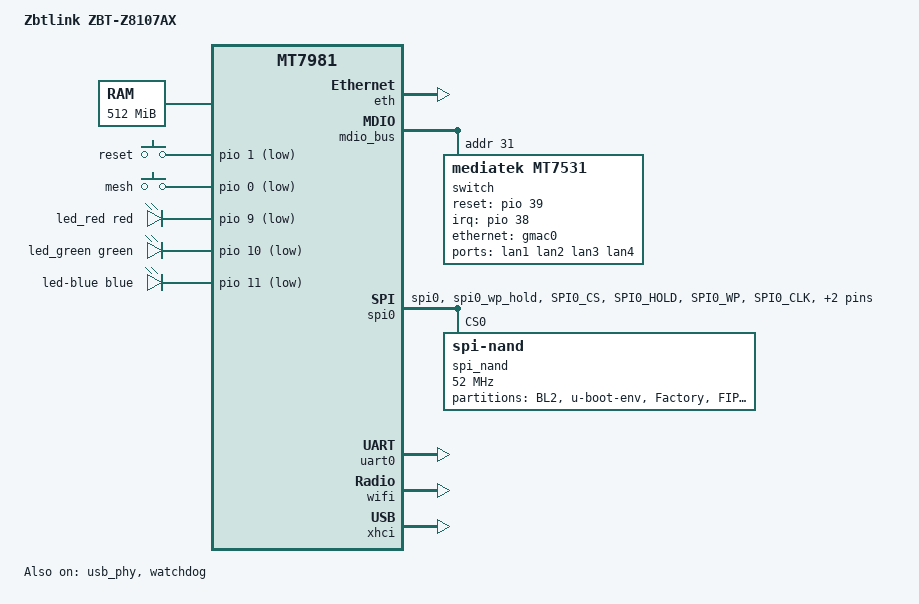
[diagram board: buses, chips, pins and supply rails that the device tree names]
// SPDX-License-Identifier: GPL-2.0-or-later OR MIT

/dts-v1/;

#include <dt-bindings/gpio/gpio.h>
#include <dt-bindings/input/input.h>
#include <dt-bindings/interrupt-controller/irq.h>
#include <dt-bindings/leds/common.h>
#include <dt-bindings/pinctrl/mt65xx.h>

#include "mt7981b.dtsi"

/ {
	model = "Zbtlink ZBT-Z8107AX";
	compatible = "zbtlink,zbt-z8107ax", "mediatek,mt7981";

	aliases {
		serial0 = &uart0;
		led-boot = &led_red;
		led-failsafe = &led_red;
		led-running = &led_green;
		led-upgrade = &led_red;
		label-mac-device = &gmac0;
	};

	chosen {
		stdout-path = "serial0:115200n8";
		bootargs = "earlycon=uart8250,mmio32,0x11002000 console=ttyS0,115200n8";
	};

	memory@40000000 {
		device_type = "memory";
		reg = <0 0x40000000 0 0x20000000>;
	};

	keys {
		compatible = "gpio-keys";

		button-reset {
			label = "reset";
			linux,code = <KEY_RESTART>;
			gpios = <&pio 1 GPIO_ACTIVE_LOW>;
		};

		button-mesh {
			label = "mesh";
			linux,code = <BTN_0>;
			gpios = <&pio 0 GPIO_ACTIVE_LOW>;
		};
	};

	/* Three channels of a single RGB status indicator. */
	leds {
		compatible = "gpio-leds";

		led_red: led-red {
			color = <LED_COLOR_ID_RED>;
			function = LED_FUNCTION_STATUS;
			gpios = <&pio 9 GPIO_ACTIVE_LOW>;
		};

		led_green: led-green {
			color = <LED_COLOR_ID_GREEN>;
			function = LED_FUNCTION_STATUS;
			gpios = <&pio 10 GPIO_ACTIVE_LOW>;
		};

		led-blue {
			color = <LED_COLOR_ID_BLUE>;
			function = LED_FUNCTION_WAN;
			gpios = <&pio 11 GPIO_ACTIVE_LOW>;
		};
	};
};

&eth {
	status = "okay";

	gmac0: mac@0 {
		compatible = "mediatek,eth-mac";
		reg = <0>;
		nvmem-cells = <&macaddr_factory_2a>;
		nvmem-cell-names = "mac-address";
		phy-mode = "2500base-x";

		fixed-link {
			speed = <2500>;
			full-duplex;
			pause;
		};
	};

	gmac1: mac@1 {
		openwrt,netdev-name = "wan";
		compatible = "mediatek,eth-mac";
		reg = <1>;
		nvmem-cells = <&macaddr_factory_24>;
		nvmem-cell-names = "mac-address";
		phy-mode = "gmii";
		phy-handle = <&int_gbe_phy>;
	};
};

&mdio_bus {
	switch@1f {
		compatible = "mediatek,mt7531";
		reg = <31>;
		reset-gpios = <&pio 39 GPIO_ACTIVE_HIGH>;
		interrupt-controller;
		#interrupt-cells = <1>;
		interrupt-parent = <&pio>;
		interrupts = <38 IRQ_TYPE_LEVEL_HIGH>;

		ports {
			#address-cells = <1>;
			#size-cells = <0>;

			port@0 {
				reg = <0>;
				label = "lan1";
			};

			port@1 {
				reg = <1>;
				label = "lan2";
			};

			port@2 {
				reg = <2>;
				label = "lan3";
			};

			port@3 {
				reg = <3>;
				label = "lan4";
			};

			port@6 {
				reg = <6>;
				ethernet = <&gmac0>;
				phy-mode = "2500base-x";

				fixed-link {
					speed = <2500>;
					full-duplex;
					pause;
				};
			};
		};
	};
};

&pio {
	spi0_flash_pins: spi0-pins {
		mux {
			function = "spi";
			groups = "spi0", "spi0_wp_hold";
		};

		conf-pu {
			pins = "SPI0_CS", "SPI0_HOLD", "SPI0_WP";
			drive-strength = <MTK_DRIVE_8mA>;
			bias-pull-up = <MTK_PUPD_SET_R1R0_11>;
		};

		conf-pd {
			pins = "SPI0_CLK", "SPI0_MOSI", "SPI0_MISO";
			drive-strength = <MTK_DRIVE_8mA>;
			bias-pull-down = <MTK_PUPD_SET_R1R0_11>;
		};
	};
};

&spi0 {
	pinctrl-names = "default";
	pinctrl-0 = <&spi0_flash_pins>;
	status = "okay";

	spi_nand@0 {
		compatible = "spi-nand";
		reg = <0>;

		spi-max-frequency = <52000000>;
		spi-tx-bus-width = <4>;
		spi-rx-bus-width = <4>;

		mediatek,nmbm;
		mediatek,bmt-max-ratio = <1>;
		mediatek,bmt-max-reserved-blocks = <64>;

		partitions {
			compatible = "fixed-partitions";
			#address-cells = <1>;
			#size-cells = <1>;

			partition@0 {
				label = "BL2";
				reg = <0x0 0x100000>;
				read-only;
			};

			partition@100000 {
				label = "u-boot-env";
				reg = <0x100000 0x80000>;
				read-only;
			};

			partition@180000 {
				label = "Factory";
				reg = <0x180000 0x200000>;
				read-only;

				nvmem-layout {
					compatible = "fixed-layout";
					#address-cells = <1>;
					#size-cells = <1>;

					eeprom_factory: eeprom@0 {
						reg = <0x0 0x1000>;
					};

					macaddr_factory_24: macaddr@24 {
						reg = <0x24 0x6>;
					};

					macaddr_factory_2a: macaddr@2a {
						reg = <0x2a 0x6>;
					};
				};
			};

			partition@380000 {
				label = "FIP";
				reg = <0x380000 0x200000>;
				read-only;
			};

			partition@580000 {
				label = "ubi";
				reg = <0x580000 0x7280000>;
			};
		};
	};
};

&uart0 {
	status = "okay";
};

&usb_phy {
	status = "okay";
};

&watchdog {
	status = "okay";
};

&wifi {
	status = "okay";
	nvmem-cells = <&eeprom_factory>;
	nvmem-cell-names = "eeprom";

	led {
		led-active-low;
	};
};

&xhci {
	status = "okay";
};
